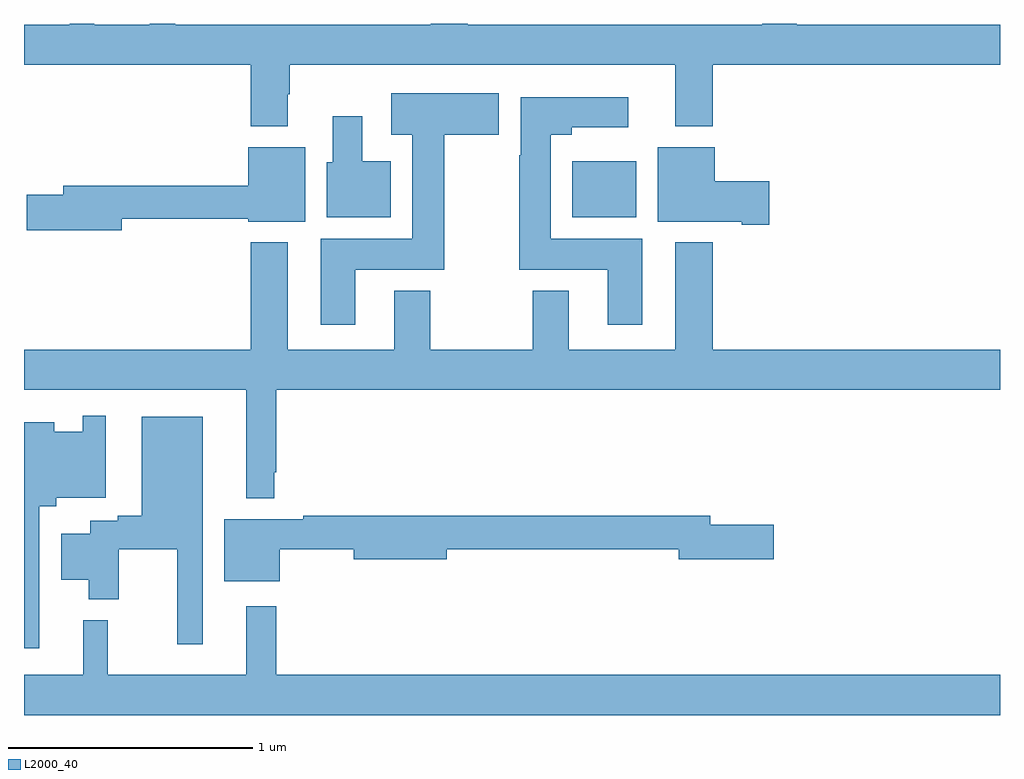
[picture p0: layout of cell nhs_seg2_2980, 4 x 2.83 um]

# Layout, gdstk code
import gdstk
lib = gdstk.Library(unit=1e-6, precision=1e-09)
def R(c, l, rs):  # rectangles x0, y0, x1, y1
    for r in rs: c.add(gdstk.rectangle(r[:2], r[2:], *l))
def P(c, l, *ps):  # polygons
    for p in ps: c.add(gdstk.Polygon(p, *l))
L2000_40 = (2000, 40)

nhs_seg2_2980 = lib.new_cell('nhs_seg2_2980')
R(nhs_seg2_2980, L2000_40, [(269.246,651.008,269.509,651.238)])
P(nhs_seg2_2980, L2000_40, [(271,651.796),(270.166,651.796),(270.166,651.8),(270.026,651.8),(270.026,651.796),(268.819,651.796),(268.819,651.8),(268.668,651.8),(268.668,651.796),(267.619,651.796),(267.619,651.8),(267.515,651.8),(267.515,651.796),(267.288,651.796),(267.288,651.8),(267.188,651.8),(267.188,651.796),(267,651.796),(267,651.632),(267.929,651.632),(267.929,651.38),(268.081,651.38),(268.081,651.512),(268.089,651.512),(268.089,651.632),(269.669,651.632),(269.669,651.38),(269.822,651.38),(269.822,651.632),(271,651.632)],
  [(268.357,650.792),(268.722,650.792),(268.722,651.347),(268.945,651.347),(268.945,651.517),(268.505,651.517),(268.505,651.347),(268.592,651.347),(268.592,650.92),(268.217,650.92),(268.217,650.568),(268.357,650.568)],
  [(269.533,650.92),(269.158,650.92),(269.158,651.347),(269.245,651.347),(269.245,651.377),(269.476,651.377),(269.476,651.499),(269.036,651.499),(269.036,651.263),(269.029,651.263),(269.029,650.792),(269.393,650.792),(269.393,650.568),(269.533,650.568)],
  [(268.504,651.238),(268.387,651.238),(268.387,651.421),(268.265,651.421),(268.265,651.234),(268.241,651.234),(268.241,651.008),(268.504,651.008)],
  [(267.4,651.001),(267.92,651.001),(267.92,650.99),(268.153,650.99),(268.153,651.295),(267.92,651.295),(267.92,651.137),(267.161,651.137),(267.161,651.101),(267.012,651.101),(267.012,650.954),(267.4,650.954)],
  [(270.055,651.156),(269.83,651.156),(269.83,651.295),(269.597,651.295),(269.597,650.99),(269.942,650.99),(269.942,650.978),(270.055,650.978)],
  [(268.026,649.963),(268.033,649.963),(268.033,650.3),(271,650.3),(271,650.464),(269.822,650.464),(269.822,650.905),(269.669,650.905),(269.669,650.464),(269.233,650.464),(269.233,650.707),(269.086,650.707),(269.086,650.464),(268.665,650.464),(268.665,650.707),(268.517,650.707),(268.517,650.464),(268.081,650.464),(268.081,650.905),(267.929,650.905),(267.929,650.464),(267,650.464),(267,650.3),(267.911,650.3),(267.911,649.856),(268.026,649.856)],
  [(267.063,649.823),(267.132,649.823),(267.132,649.859),(267.336,649.859),(267.336,650.194),(267.24,650.194),(267.24,650.128),(267.124,650.128),(267.124,650.167),(267,650.167),(267,649.242),(267.063,649.242)],
  [(267.733,650.191),(267.482,650.191),(267.482,649.784),(267.384,649.784),(267.384,649.764),(267.272,649.764),(267.272,649.711),(267.152,649.711),(267.152,649.523),(267.266,649.523),(267.266,649.442),(267.388,649.442),(267.388,649.648),(267.629,649.648),(267.629,649.257),(267.733,649.257)],
  [(268.048,649.648),(268.352,649.648),(268.352,649.606),(268.732,649.606),(268.732,649.648),(269.684,649.648),(269.684,649.606),(270.073,649.606),(270.073,649.748),(269.812,649.748),(269.812,649.784),(268.144,649.784),(268.144,649.771),(267.821,649.771),(267.821,649.517),(268.048,649.517)],
  [(271,649.132),(268.033,649.132),(268.033,649.414),(267.911,649.414),(267.911,649.132),(267.344,649.132),(267.344,649.357),(267.242,649.357),(267.242,649.132),(267,649.132),(267,648.968),(271,648.968)])

lib.write_gds('nhs_seg2_2980.gds')
